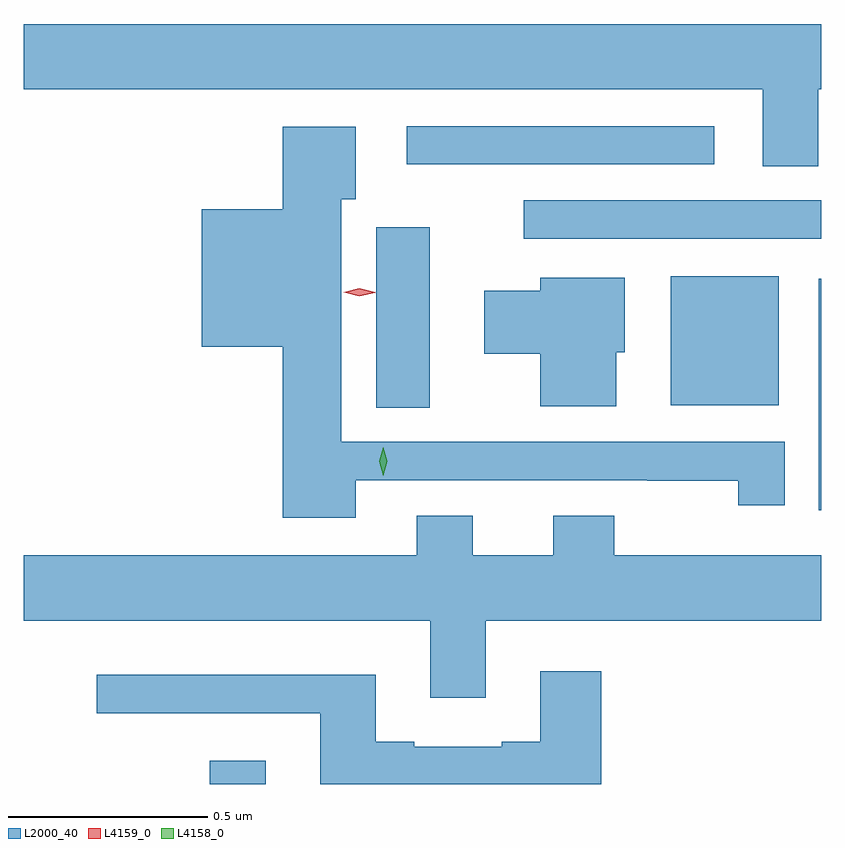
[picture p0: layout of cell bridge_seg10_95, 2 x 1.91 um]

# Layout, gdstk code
import gdstk
lib = gdstk.Library(unit=1e-6, precision=1e-09)
def R(c, l, rs):  # rectangles x0, y0, x1, y1
    for r in rs: c.add(gdstk.rectangle(r[:2], r[2:], *l))
def P(c, l, *ps):  # polygons
    for p in ps: c.add(gdstk.Polygon(p, *l))
L2000_40 = (2000, 40)
L4158_0 = (4158, 0)
L4159_0 = (4159, 0)

bridge_seg10_95 = lib.new_cell('bridge_seg10_95')
R(bridge_seg10_95, L2000_40, [(581.861,1310.562,582.001,1310.62), (583.388,1311.248,583.394,1311.829), (582.278,1311.505,582.412,1311.958), (583.016,1311.512,583.288,1311.835), (582.648,1311.93,583.394,1312.026), (582.354,1312.116,583.126,1312.212)])
P(bridge_seg10_95, L2000_40, [(583.387,1312.304),(583.394,1312.304),(583.394,1312.468),(581.394,1312.468),(581.394,1312.304),(583.247,1312.304),(583.247,1312.111),(583.387,1312.111)],
  [(582.226,1311.324),(582.958,1311.324),(582.958,1311.323),(583.186,1311.323),(583.186,1311.261),(583.303,1311.261),(583.303,1311.42),(582.19,1311.42),(582.19,1312.028),(582.226,1312.028),(582.226,1312.21),(582.044,1312.21),(582.044,1312.003),(581.84,1312.003),(581.84,1311.659),(582.044,1311.659),(582.044,1311.23),(582.226,1311.23)],
  [(582.88,1311.645),(582.901,1311.645),(582.901,1311.832),(582.689,1311.832),(582.689,1311.799),(582.549,1311.799),(582.549,1311.641),(582.689,1311.641),(582.689,1311.509),(582.88,1311.509)],
  [(582.553,1310.972),(583.394,1310.972),(583.394,1311.136),(582.875,1311.136),(582.875,1311.235),(582.722,1311.235),(582.722,1311.136),(582.52,1311.136),(582.52,1311.235),(582.38,1311.235),(582.38,1311.136),(581.394,1311.136),(581.394,1310.972),(582.413,1310.972),(582.413,1310.778),(582.553,1310.778)],
  [(582.842,1310.845),(582.689,1310.845),(582.689,1310.668),(582.593,1310.668),(582.593,1310.655),(582.373,1310.655),(582.373,1310.668),(582.277,1310.668),(582.277,1310.836),(581.577,1310.836),(581.577,1310.739),(582.137,1310.739),(582.137,1310.562),(582.842,1310.562)])
P(bridge_seg10_95, L4158_0, [(582.295,1311.335),(582.295,1311.335),(582.285,1311.371),(582.295,1311.407),(582.295,1311.407),(582.295,1311.407),(582.305,1311.371),(582.295,1311.335)])
P(bridge_seg10_95, L4159_0, [(582.236,1311.785),(582.197,1311.795),(582.197,1311.795),(582.197,1311.795),(582.236,1311.805),(582.276,1311.795),(582.276,1311.795),(582.276,1311.794)])

lib.write_gds('bridge_seg10_95.gds')
